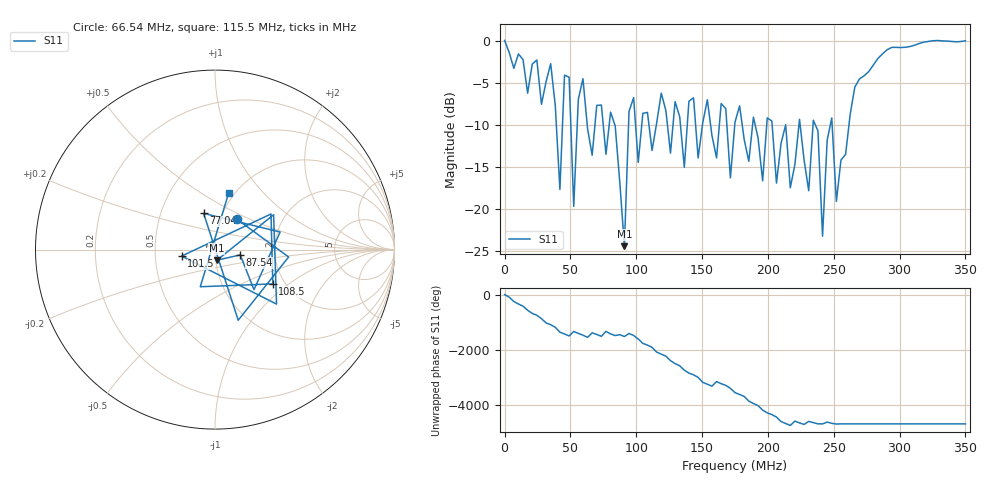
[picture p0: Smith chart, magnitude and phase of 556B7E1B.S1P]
!File created by NanoVNA
# Hz S RI R 50
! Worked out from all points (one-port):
!   101 points, 50 kHz to 350 MHz, reference 50 ohm
!   lowest |S11| = -24.4 dB at 91.04 MHz (marker M1), VSWR 1.13, Z = 50.7 - j6.04 ohm
!   |S11| at or under -10 dB: 83.75 MHz to 94.19 MHz (10.44 MHz wide, 11.7 % of centre); 236 MHz to 247.4 MHz (11.41 MHz wide, 4.72 % of centre); 248.8 MHz to 261.6 MHz (12.79 MHz wide, 5.01 % of centre) (the widest 3 of 19)
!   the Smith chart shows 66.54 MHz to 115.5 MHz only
!   S11 on the Smith chart (normalised r, x): 66.54 MHz: 1.20, +0.42; 77.04 MHz: 0.82, +0.34; 87.54 MHz: 1.33, -0.08; 101.5 MHz: 0.69, -0.05; 108.5 MHz: 1.73, -0.77; 115.5 MHz: 0.94, +0.66
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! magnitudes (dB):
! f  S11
! 50 kHz  0.0
! 35.05 MHz  -2.8
! 42.04 MHz  -17.7
! 45.54 MHz  -4.1
! 49.04 MHz  -4.3
! 52.54 MHz  -19.7
! 59.54 MHz  -4.5
! 66.54 MHz  -13.6
! 77.04 MHz  -13.5
! 80.54 MHz  -8.5
! 87.54 MHz  -16.8
! 91.04 MHz  -24.4
! 94.54 MHz  -8.4
! 101.5 MHz  -14.5
! 108.5 MHz  -8.5
! 115.5 MHz  -9.8
! 133 MHz  -9.0
! 168 MHz  -8.1
! 171.5 MHz  -16.3
! 175 MHz  -9.7
! 220.5 MHz  -14.7
! 238 MHz  -10.7
! 241.5 MHz  -23.2
! 248.5 MHz  -9.2
! 252 MHz  -19.1
! 262.5 MHz  -8.7
! 308 MHz  -0.7
! 350 MHz  0.0
